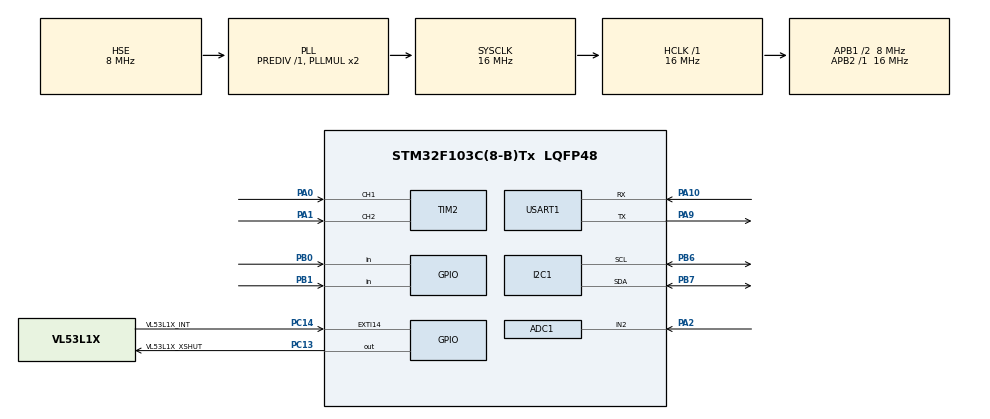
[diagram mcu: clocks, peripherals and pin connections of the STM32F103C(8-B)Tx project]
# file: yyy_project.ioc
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ADC1.Channel-0\#ChannelRegularConversion=ADC_CHANNEL_2
ADC1.ContinuousConvMode=ENABLE
ADC1.NbrOfConversionFlag=1
ADC1.Rank-0\#ChannelRegularConversion=1
ADC1.SamplingTime-0\#ChannelRegularConversion=ADC_SAMPLETIME_1CYCLE_5
ADC1.master=1
I2C1.I2C_Mode=I2C_Fast
Mcu.Family=STM32F1
Mcu.Name=STM32F103C(8-B)Tx
Mcu.Package=LQFP48
NVIC.EXTI15_10_IRQn=true\:0\:0\:false\:false\:true\:true\:true\:true
NVIC.PriorityGroup=NVIC_PRIORITYGROUP_4
PA0-WKUP.Signal=S_TIM2_CH1_ETR
PA1.Signal=S_TIM2_CH2
PA10.Mode=Asynchronous
PA10.Signal=USART1_RX
PA13.Mode=Serial_Wire
PA13.Signal=SYS_JTMS-SWDIO
PA14.Mode=Serial_Wire
PA14.Signal=SYS_JTCK-SWCLK
PA2.Signal=ADCx_IN2
PA9.Mode=Asynchronous
PA9.Signal=USART1_TX
PB0.GPIO_PuPd=GPIO_PULLUP
PB0.Signal=GPIO_Input
PB1.GPIO_PuPd=GPIO_PULLUP
PB1.Signal=GPIO_Input
PB6.Mode=I2C
PB6.Signal=I2C1_SCL
PB7.Mode=I2C
PB7.Signal=I2C1_SDA
PC13-TAMPER-RTC.GPIO_Label=VL53L1X_XSHUT
PC13-TAMPER-RTC.PinState=GPIO_PIN_SET
PC13-TAMPER-RTC.Signal=GPIO_Output
PC14-OSC32_IN.GPIO_Label=VL53L1X_INT
PC14-OSC32_IN.GPIO_PuPd=GPIO_PULLUP
PC14-OSC32_IN.Signal=GPXTI14
PD0-OSC_IN.Mode=HSE-External-Oscillator
PD0-OSC_IN.Signal=RCC_OSC_IN
PD1-OSC_OUT.Mode=HSE-External-Oscillator
PD1-OSC_OUT.Signal=RCC_OSC_OUT
ProjectManager.HeapSize=0x1000
ProjectManager.StackSize=0x2000
ProjectManager.TargetToolchain=CMake
RCC.AHBFreq_Value=16000000
RCC.APB1CLKDivider=RCC_HCLK_DIV2
RCC.APB1Freq_Value=8000000
RCC.APB1TimFreq_Value=16000000
RCC.APB2Freq_Value=16000000
RCC.APB2TimFreq_Value=16000000
RCC.HCLKFreq_Value=16000000
RCC.PLLSourceVirtual=RCC_PLLSOURCE_HSE
RCC.SYSCLKFreq_VALUE=16000000
RCC.SYSCLKSource=RCC_SYSCLKSOURCE_PLLCLK
RCC.USBFreq_Value=16000000
SH.ADCx_IN2.0=ADC1_IN2,IN2
SH.S_TIM2_CH1_ETR.0=TIM2_CH1,Encoder_Interface
SH.S_TIM2_CH2.0=TIM2_CH2,Encoder_Interface
TIM2.EncoderMode=TIM_ENCODERMODE_TI12
USART1.VirtualMode=VM_ASYNC
board=custom

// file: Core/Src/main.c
/* USER CODE BEGIN Header */
/**
  ******************************************************************************
  * @file           : main.c
  * @brief          : Camera light meter top main program
  ******************************************************************************
  */
/* USER CODE END Header */
#include "main.h"
#include "adc.h"
#include "i2c.h"
#include "tim.h"
#include "usart.h"
#include "gpio.h"

/* USER CODE BEGIN Includes */
#include "ssd1306_i2c.h"
#include "veml7700.h"
#include "vl53l1x_hal.h"
#include <stdio.h>
#include <stdint.h>
#include <string.h>
/* USER CODE END Includes */

/* USER CODE BEGIN PTD */
typedef enum {
  MODE_TV = 0,   /* shutter priority */
  MODE_AV = 1    /* aperture priority */
} MeterMode;

typedef enum {
  METER_OK = 0,
  METER_UNDER,
  METER_OVER,
  METER_SENSOR_ERR
} MeterHint;

typedef struct {
  GPIO_TypeDef *port;
  uint16_t pin;
  GPIO_PinState stable;
  GPIO_PinState last_read;
  uint32_t last_change_ms;
  uint32_t press_start_ms;
  uint8_t ever_pressed;       /* GPIO keys cannot be probed; becomes OK after first valid press. */
  uint8_t long_reported;
} ButtonState;

typedef enum {
  BUTTON_EVENT_NONE = 0,
  BUTTON_EVENT_SHORT,
  BUTTON_EVENT_LONG
} ButtonEvent;

typedef enum {
  SCREEN_SELF_TEST = 0,
  SCREEN_METER = 1
} AppScreen;
/* USER CODE END PTD */

/* USER CODE BEGIN PD */
#define ARRAY_LEN(a)              (sizeof(a) / sizeof((a)[0]))
#define ENCODER_STEP              4
#define KEY_PRESSED               GPIO_PIN_RESET
#define KEY_RELEASED              GPIO_PIN_SET
#define KEY_DEBOUNCE_MS           35U
#define SENSOR_PERIOD_MS          400U
#define UI_PERIOD_MS              180U
#define RANGE_RESTART_MS          1000U
#define RANGE_POLL_MS             120U
#define RANGE_FORCE_ALWAYS_ON     1U
#define DISPLAY_IIR_SHIFT         2U
#define DISPLAY_RANGE_IIR_SHIFT   3U
#define DISPLAY_LUX_STABLE_X10    30UL
#define DISPLAY_RANGE_STABLE_MM   20U
#define DISPLAY_RANGE_DEADBAND_MM 20U
#define DISPLAY_RANGE_STEP_MM     50U
#define RANGE_XSHUT_GPIO_Port     GPIOC
#define RANGE_XSHUT_Pin           GPIO_PIN_13
#define RANGE_INT_Pin             GPIO_PIN_14
#define SELF_TEST_HOLD_MS         5000U  /* Long press encoder button to enter self-test. */
#define SELF_TEST_SHOW_MS         6000U  /* Boot/long-press self-test screen display time. */
/* USER CODE END PD */

/* USER CODE BEGIN PV */
static VEML7700_HandleTypeDef hveml;
static VL53L1X_HandleTypeDef hvl53;
static ButtonState btn_mode;
static ButtonState btn_iso;

static const uint16_t shutter_den_tbl[] = {1, 2, 4, 8, 15, 30, 60, 125, 250, 500};
static const uint16_t aperture_x10_tbl[] = {28, 35, 40, 47, 56, 80, 110, 160, 220, 320, 450};
static const uint16_t iso_tbl[] = {100, 125, 160, 200, 400};

static MeterMode g_mode = MODE_TV;
static MeterHint g_hint = METER_SENSOR_ERR;
static uint8_t g_shutter_idx = 6;   /* 1/60 */
static uint8_t g_aperture_idx = 4;  /* f/5.6 */
static uint8_t g_iso_idx = 0;
static uint32_t g_lux_x10 = 0;
static int16_t g_ev_x10 = 0;
static uint16_t g_bat_mv = 0;
static uint8_t g_bat_pct = 0;
static uint8_t g_sensor_ok = 0;
static uint8_t g_lux_disp_valid = 0U;
static uint8_t g_lux_disp_stable = 0U;
static uint32_t g_lux_disp_x10 = 0U;
static uint8_t g_encoder_seen = 0U;
static uint8_t g_button_seen = 0U;
static uint32_t g_app_start_ms = 0U;
static AppScreen g_screen = SCREEN_SELF_TEST;
static uint32_t g_selftest_start_ms = 0U;
static uint8_t g_selftest_boot = 1U;
static uint8_t g_range_needed = 0U;
static uint8_t g_range_active = 0U;
static uint8_t g_range_ok = 0U;
static uint8_t g_range_read_seen = 0U;
static uint8_t g_range_disp_valid = 0U;
static uint8_t g_range_disp_stable = 0U;
static uint16_t g_range_mm = 0U;
static uint16_t g_range_disp_mm = 0U;
static uint8_t g_range_status = 0xFFU;
static uint32_t g_range_retry_ms = 0U;
static uint32_t g_range_last_poll_ms = 0U;
static volatile uint8_t g_vl53_int_flag = 0U;
static volatile uint8_t g_i2c1_busy = 0U;
static int16_t enc_last = 0;
/* USER CODE END PV */

void SystemClock_Config(void);
/* USER CODE BEGIN PFP */
static void App_Init(void);
static void App_Task(void);
static void Process_Input(void);
static void Update_Meter(void);
static void Range_Task(void);
static void Range_SetNeeded(uint8_t needed);
static uint8_t Range_IsNeeded(void);
static const char *Range_DebugText(void);
static void DisplayFilter_UpdateLux(uint32_t lux_x10);
static void DisplayFilter_UpdateRange(uint16_t range_mm);
static uint32_t IIR_UpdateU32(uint32_t current, uint32_t target);
static uint32_t IIR_UpdateU32Shift(uint32_t current, uint32_t target, uint8_t shift);
static uint32_t AbsDiffU32(uint32_t a, uint32_t b);
static uint8_t I2C1_TryLock(void);
static void I2C1_Unlock(void);
static void Meter_Recalculate(void);
static int8_t Encoder_ReadDetents(void);
static ButtonEvent Button_Update(ButtonState *btn, uint32_t long_ms);
static void SelfTest_Start(uint8_t boot_start);
static void SelfTest_Task(void);
static void UI_DrawSelfTest(void);
static void UI_DrawBottomStatusBar(void);
static uint16_t Battery_ReadMv(void);
static uint8_t Battery_Percent(uint16_t mv);
static uint8_t FindNearestShutter(float target_s);
static uint8_t FindNearestApertureByN2(float target_n2);
static int16_t EV10_FromLuxIso(uint32_t lux_x10, uint16_t iso);
static void Update_Display(void);
/* USER CODE END PFP */

int main(void)
{

  /* MCU Configuration--------------------------------------------------------*/

  /* Reset of all peripherals, Initializes the Flash interface and the Systick. */
  HAL_Init();

  /* Configure the system clock */
  SystemClock_Config();

  /* Initialize all configured peripherals */
  MX_GPIO_Init();
  MX_ADC1_Init();
  MX_I2C1_Init();
  MX_TIM2_Init();
  MX_USART1_UART_Init();
  /* USER CODE BEGIN 2 */
  App_Init();
  /* USER CODE END 2 */

  /* Infinite loop */
  /* USER CODE BEGIN WHILE */
  while (1)
  {
    App_Task();
    /* USER CODE END WHILE */

  }
}

void SystemClock_Config(void)
{
  RCC_OscInitTypeDef RCC_OscInitStruct = {0};
  RCC_ClkInitTypeDef RCC_ClkInitStruct = {0};
  RCC_PeriphCLKInitTypeDef PeriphClkInit = {0};

  /** Initializes the RCC Oscillators according to the specified parameters
  * in the RCC_OscInitTypeDef structure.
  */
  RCC_OscInitStruct.OscillatorType = RCC_OSCILLATORTYPE_HSE;
  RCC_OscInitStruct.HSEState = RCC_HSE_ON;
  RCC_OscInitStruct.HSEPredivValue = RCC_HSE_PREDIV_DIV1;
  RCC_OscInitStruct.HSIState = RCC_HSI_ON;
  RCC_OscInitStruct.PLL.PLLState = RCC_PLL_ON;
  RCC_OscInitStruct.PLL.PLLSource = RCC_PLLSOURCE_HSE;
  RCC_OscInitStruct.PLL.PLLMUL = RCC_PLL_MUL2;
  if (HAL_RCC_OscConfig(&RCC_OscInitStruct) != HAL_OK)
  {
    Error_Handler();
  }

  /** Initializes the CPU, AHB and APB buses clocks
  */
  RCC_ClkInitStruct.ClockType = RCC_CLOCKTYPE_HCLK|RCC_CLOCKTYPE_SYSCLK
                              |RCC_CLOCKTYPE_PCLK1|RCC_CLOCKTYPE_PCLK2;
  RCC_ClkInitStruct.SYSCLKSource = RCC_SYSCLKSOURCE_PLLCLK;
  RCC_ClkInitStruct.AHBCLKDivider = RCC_SYSCLK_DIV1;
  RCC_ClkInitStruct.APB1CLKDivider = RCC_HCLK_DIV2;
  RCC_ClkInitStruct.APB2CLKDivider = RCC_HCLK_DIV1;

  if (HAL_RCC_ClockConfig(&RCC_ClkInitStruct, FLASH_LATENCY_0) != HAL_OK)
  {
    Error_Handler();
  }
  PeriphClkInit.PeriphClockSelection = RCC_PERIPHCLK_ADC;
  PeriphClkInit.AdcClockSelection = RCC_ADCPCLK2_DIV2;
  if (HAL_RCCEx_PeriphCLKConfig(&PeriphClkInit) != HAL_OK)
  {
    Error_Handler();
  }
}

/* USER CODE BEGIN 4 */
static void App_Init(void)
{
  g_app_start_ms = HAL_GetTick();

  btn_mode.port = GPIOB;
  btn_mode.pin = GPIO_PIN_0;
  btn_mode.stable = KEY_RELEASED;
  btn_mode.last_read = KEY_RELEASED;
  btn_mode.last_change_ms = HAL_GetTick();
  btn_mode.press_start_ms = 0U;
  btn_mode.ever_pressed = 0U;
  btn_mode.long_reported = 0U;

  btn_iso.port = GPIOB;
  btn_iso.pin = GPIO_PIN_1;
  btn_iso.stable = KEY_RELEASED;
  btn_iso.last_read = KEY_RELEASED;
  btn_iso.last_change_ms = HAL_GetTick();
  btn_iso.press_start_ms = 0U;
  btn_iso.ever_pressed = 0U;
  btn_iso.long_reported = 0U;

  if (HAL_TIM_Encoder_Start(&htim2, TIM_CHANNEL_ALL) == HAL_OK) {
    enc_last = (int16_t)__HAL_TIM_GET_COUNTER(&htim2);
  } else {
    g_encoder_seen = 0U;
  }
  HAL_ADC_Start(&hadc1);

  /* XSHUT must already be configured as PC13 output-high by MX_GPIO_Init().
     Keep it high before the first VL53L1X I2C register access. */
  HAL_GPIO_WritePin(RANGE_XSHUT_GPIO_Port, RANGE_XSHUT_Pin, GPIO_PIN_SET);
  (void)VL53L1X_Attach(&hvl53, &hi2c1, RANGE_XSHUT_GPIO_Port, RANGE_XSHUT_Pin);

  if (I2C1_TryLock()) {
    if (SSD1306_Init(&hi2c1) == HAL_OK) {
      SSD1306_Clear();
      SSD1306_DrawString(0, 0, "Light Meter Top");
      SSD1306_DrawString(0, 2, "Init VEML7700...");
      SSD1306_Update();
    }
    I2C1_Unlock();
  }

  if (I2C1_TryLock()) {
    if (VEML7700_Init(&hveml, &hi2c1) != HAL_OK) {
      g_sensor_ok = 0;
      g_hint = METER_SENSOR_ERR;
    } else {
      g_sensor_ok = 1;
      g_hint = METER_OK;
    }
    I2C1_Unlock();
  }

  Range_SetNeeded(Range_IsNeeded());
  Range_Task();

  HAL_Delay(150);
  Update_Meter();
  SelfTest_Start(1U);
  Update_Display();
}

static void App_Task(void)
{
  static uint32_t last_sensor_ms = 0;
  static uint32_t last_ui_ms = 0;
  uint32_t now = HAL_GetTick();

  Process_Input();
  Range_Task();
  SelfTest_Task();

  if ((now - last_sensor_ms) >= SENSOR_PERIOD_MS) {
    last_sensor_ms = now;
    Update_Meter();
  }

  if ((now - last_ui_ms) >= UI_PERIOD_MS) {
    last_ui_ms = now;
    Update_Display();
  }
}

static void Process_Input(void)
{
  int8_t detents = Encoder_ReadDetents();
  ButtonEvent encoder_button_event = Button_Update(&btn_mode, SELF_TEST_HOLD_MS);
  ButtonEvent iso_button_event = Button_Update(&btn_iso, 0U);

  if (detents != 0) {
    g_encoder_seen = 1U;

    /* In self-test screen, rotation is only used to verify the encoder. */
    if (g_screen != SCREEN_SELF_TEST) {
      if (g_mode == MODE_TV) {
        int16_t idx = (int16_t)g_shutter_idx + detents;
        if (idx < 0) idx = 0;
        if (idx >= (int16_t)ARRAY_LEN(shutter_den_tbl)) idx = (int16_t)ARRAY_LEN(shutter_den_tbl) - 1;
        g_shutter_idx = (uint8_t)idx;
      } else {
        int16_t idx = (int16_t)g_aperture_idx + detents;
        if (idx < 0) idx = 0;
        if (idx >= (int16_t)ARRAY_LEN(aperture_x10_tbl)) idx = (int16_t)ARRAY_LEN(aperture_x10_tbl) - 1;
        g_aperture_idx = (uint8_t)idx;
      }
      Meter_Recalculate();
    }

    Update_Display();
  }

  if (encoder_button_event == BUTTON_EVENT_LONG) {
    /* Current IOC has no separate encoder-SW pin. PB0 is treated as encoder push.
       Short press keeps the original Mode action; 5s long press opens self-test. */
    SelfTest_Start(0U);
    Update_Display();
  } else if ((encoder_button_event == BUTTON_EVENT_SHORT) && (g_screen != SCREEN_SELF_TEST)) {
    g_mode = (g_mode == MODE_TV) ? MODE_AV : MODE_TV;
    Meter_Recalculate();
    Update_Display();
  }

  if ((iso_button_event == BUTTON_EVENT_SHORT) && (g_screen != SCREEN_SELF_TEST)) {
    g_iso_idx++;
    if (g_iso_idx >= ARRAY_LEN(iso_tbl)) g_iso_idx = 0;
    Meter_Recalculate();
    Update_Display();
  }
}

static void Update_Meter(void)
{
  uint32_t lux_x10;

  if (I2C1_TryLock()) {
    if (VEML7700_ReadLuxAutoX10(&hveml, &lux_x10) == HAL_OK) {
      g_lux_x10 = lux_x10;
      g_sensor_ok = 1;
      DisplayFilter_UpdateLux(lux_x10);
    } else {
      g_sensor_ok = 0;
      g_lux_disp_valid = 0U;
      g_hint = METER_SENSOR_ERR;
    }
    I2C1_Unlock();
  }

  g_bat_mv = Battery_ReadMv();
  g_bat_pct = Battery_Percent(g_bat_mv);
  Meter_Recalculate();
}

static void Range_Task(void)
{
  uint32_t now = HAL_GetTick();

  Range_SetNeeded(Range_IsNeeded());
  HAL_GPIO_WritePin(RANGE_XSHUT_GPIO_Port, RANGE_XSHUT_Pin, GPIO_PIN_SET);

  if (g_range_needed == 0U) {
    return;
  }

  if (g_range_active == 0U) {
    if ((g_range_retry_ms != 0U) && ((now - g_range_retry_ms) < RANGE_RESTART_MS)) {
      return;
    }

    if (I2C1_TryLock()) {
      HAL_StatusTypeDef init_ret = VL53L1X_PowerOnInit(&hvl53);
      HAL_StatusTypeDef start_ret = HAL_ERROR;
      if (init_ret == HAL_OK) {
        start_ret = VL53L1X_StartRanging(&hvl53);
      }
      if ((init_ret == HAL_OK) && (start_ret == HAL_OK)) {
        g_range_active = 1U;
        g_range_ok = 0U;
        g_range_read_seen = 0U;
        g_vl53_int_flag = 0U;
        g_range_last_poll_ms = now;
      } else {
        if (init_ret == HAL_OK) {
          hvl53.last_error_stage = VL53L1X_STAGE_START;
          hvl53.last_hal_status = start_ret;
        }
        g_range_active = 0U;
        g_range_ok = 0U;
        g_range_retry_ms = now;
#if (RANGE_FORCE_ALWAYS_ON != 0U)
        HAL_GPIO_WritePin(RANGE_XSHUT_GPIO_Port, RANGE_XSHUT_Pin, GPIO_PIN_SET);
#else
        VL53L1X_PowerOff(&hvl53);
#endif
      }
      I2C1_Unlock();
    }
    return;
  }

  if ((g_vl53_int_flag != 0U) ||
      ((now - g_range_last_poll_ms) >= RANGE_POLL_MS)) {
    uint16_t distance = 0U;
    uint8_t status = 0xFFU;

    if (I2C1_TryLock()) {
      g_vl53_int_flag = 0U;
      g_range_last_poll_ms = now;
      if (VL53L1X_ReadAndClear(&hvl53, &distance, &status) == HAL_OK) {
        g_range_mm = distance;
        g_range_status = status;
        g_range_read_seen = 1U;
        g_range_ok = (status == 0U) ? 1U : 0U;
        if (g_range_ok != 0U) {
          DisplayFilter_UpdateRange(distance);
        } else {
          g_range_disp_stable = 0U;
        }
      } else {
        hvl53.last_error_stage = VL53L1X_STAGE_READ;
        g_range_ok = 0U;
        g_range_active = 0U;
        g_range_retry_ms = now;
#if (RANGE_FORCE_ALWAYS_ON != 0U)
        HAL_GPIO_WritePin(RANGE_XSHUT_GPIO_Port, RANGE_XSHUT_Pin, GPIO_PIN_SET);
#else
        VL53L1X_PowerOff(&hvl53);
#endif
      }
      I2C1_Unlock();
    }
  }
}

static void Range_SetNeeded(uint8_t needed)
{
#if (RANGE_FORCE_ALWAYS_ON != 0U)
  needed = 1U;
  HAL_GPIO_WritePin(RANGE_XSHUT_GPIO_Port, RANGE_XSHUT_Pin, GPIO_PIN_SET);
#endif
  needed = (needed != 0U) ? 1U : 0U;

  if (needed == g_range_needed) {
    return;
  }

  g_range_needed = needed;

  if (g_range_needed == 0U) {
#if (RANGE_FORCE_ALWAYS_ON != 0U)
    HAL_GPIO_WritePin(RANGE_XSHUT_GPIO_Port, RANGE_XSHUT_Pin, GPIO_PIN_SET);
#else
    if (I2C1_TryLock()) {
      VL53L1X_PowerOff(&hvl53);
      I2C1_Unlock();
    } else {
      HAL_GPIO_WritePin(RANGE_XSHUT_GPIO_Port, RANGE_XSHUT_Pin, GPIO_PIN_RESET);
    }
#endif
    g_range_active = 0U;
    g_range_ok = 0U;
    g_range_read_seen = 0U;
    g_range_disp_valid = 0U;
    g_vl53_int_flag = 0U;
  }
}

static uint8_t Range_IsNeeded(void)
{
  /* Self-test needs range powered so it can verify VL53L1X presence.
     Replace the normal return value with the actual UI/standby condition later. */
  if (g_screen == SCREEN_SELF_TEST) {
    return 1U;
  }
  return 1U;
}

static const char *Range_DebugText(void)
{
  switch (hvl53.last_error_stage) {
    case VL53L1X_STAGE_BOOT:
      return "BOOT";
    case VL53L1X_STAGE_ID:
      return "ID";
    case VL53L1X_STAGE_CFG:
      return "CFG";
    case VL53L1X_STAGE_INT:
      return "INT";
    case VL53L1X_STAGE_CLR:
      return "CLR";
    case VL53L1X_STAGE_START:
      return "START";
    case VL53L1X_STAGE_READ:
      return "READ";
    default:
      return "TRY";
  }
}

static void DisplayFilter_UpdateLux(uint32_t lux_x10)
{
  if (g_lux_disp_valid == 0U) {
    g_lux_disp_x10 = lux_x10;
    g_lux_disp_valid = 1U;
  } else {
    g_lux_disp_x10 = IIR_UpdateU32(g_lux_disp_x10, lux_x10);
  }

  g_lux_disp_stable =
      (AbsDiffU32(g_lux_disp_x10, lux_x10) <= DISPLAY_LUX_STABLE_X10) ? 1U : 0U;
}

static void DisplayFilter_UpdateRange(uint16_t range_mm)
{
  uint32_t current;
  uint32_t target;
  uint32_t diff;

  if (g_range_disp_valid == 0U) {
    g_range_disp_mm = range_mm;
    g_range_disp_valid = 1U;
  } else {
    current = (uint32_t)g_range_disp_mm;
    target = (uint32_t)range_mm;
    diff = AbsDiffU32(current, target);

    if (diff > DISPLAY_RANGE_DEADBAND_MM) {
      if (diff > DISPLAY_RANGE_STEP_MM) {
        target = (target > current) ? (current + DISPLAY_RANGE_STEP_MM)
                                   : (current - DISPLAY_RANGE_STEP_MM);
      }
      g_range_disp_mm = (uint16_t)IIR_UpdateU32Shift(current, target, DISPLAY_RANGE_IIR_SHIFT);
    }
  }

  g_range_disp_stable =
      (AbsDiffU32((uint32_t)g_range_disp_mm, (uint32_t)range_mm) <= DISPLAY_RANGE_STABLE_MM) ? 1U : 0U;
}

static uint32_t IIR_UpdateU32(uint32_t current, uint32_t target)
{
  return IIR_UpdateU32Shift(current, target, DISPLAY_IIR_SHIFT);
}

static uint32_t IIR_UpdateU32Shift(uint32_t current, uint32_t target, uint8_t shift)
{
  uint32_t delta;
  uint32_t step;

  if (target == current) {
    return current;
  }

  if (target > current) {
    delta = target - current;
    step = delta >> shift;
    if (step == 0U) step = 1U;
    return current + step;
  }

  delta = current - target;
  step = delta >> shift;
  if (step == 0U) step = 1U;
  return current - step;
}

static uint32_t AbsDiffU32(uint32_t a, uint32_t b)
{
  return (a >= b) ? (a - b) : (b - a);
}

static uint8_t I2C1_TryLock(void)
{
  uint8_t ok = 0U;

  __disable_irq();
  if (g_i2c1_busy == 0U) {
    g_i2c1_busy = 1U;
    ok = 1U;
  }
  __enable_irq();

  return ok;
}

static void I2C1_Unlock(void)
{
  __disable_irq();
  g_i2c1_busy = 0U;
  __enable_irq();
}

static void Meter_Recalculate(void)
{
  uint16_t iso = iso_tbl[g_iso_idx];
  float lux = (float)g_lux_x10 / 10.0f;
  float light_power;

  g_ev_x10 = EV10_FromLuxIso(g_lux_x10, iso);

  if (g_sensor_ok == 0U) {
    g_hint = METER_SENSOR_ERR;
    return;
  }
  if (g_lux_x10 == 0U) {
    g_hint = METER_UNDER;
    return;
  }

  /* Incident meter approximation: EV100 = log2(lux / 2.5).
     Therefore N^2 / t = lux * ISO / 250. */
  light_power = lux * ((float)iso / 250.0f);

  if (g_mode == MODE_AV) {
    float n = (float)aperture_x10_tbl[g_aperture_idx] / 10.0f;
    float target_s = (n * n) / light_power;

    if (target_s > (1.0f / (float)shutter_den_tbl[0])) {
      g_hint = METER_UNDER;
    } else if (target_s < (1.0f / (float)shutter_den_tbl[ARRAY_LEN(shutter_den_tbl) - 1])) {
      g_hint = METER_OVER;
    } else {
      g_hint = METER_OK;
    }
    g_shutter_idx = FindNearestShutter(target_s);
  } else {
    float t = 1.0f / (float)shutter_den_tbl[g_shutter_idx];
    float target_n2 = t * light_power;
    float min_n = (float)aperture_x10_tbl[0] / 10.0f;
    float max_n = (float)aperture_x10_tbl[ARRAY_LEN(aperture_x10_tbl) - 1] / 10.0f;

    if (target_n2 < (min_n * min_n)) {
      g_hint = METER_UNDER;
    } else if (target_n2 > (max_n * max_n)) {
      g_hint = METER_OVER;
    } else {
      g_hint = METER_OK;
    }
    g_aperture_idx = FindNearestApertureByN2(target_n2);
  }
}

static int8_t Encoder_ReadDetents(void)
{
  int16_t now = (int16_t)__HAL_TIM_GET_COUNTER(&htim2);
  int16_t diff = (int16_t)(now - enc_last);
  int8_t detents = 0;

  if (diff >= ENCODER_STEP) {
    detents = (int8_t)(diff / ENCODER_STEP);
    enc_last = (int16_t)(enc_last + detents * ENCODER_STEP);
  } else if (diff <= -ENCODER_STEP) {
    detents = (int8_t)(diff / ENCODER_STEP);
    enc_last = (int16_t)(enc_last + detents * ENCODER_STEP);
  }
  return detents;
}

static ButtonEvent Button_Update(ButtonState *btn, uint32_t long_ms)
{
  GPIO_PinState read = HAL_GPIO_ReadPin(btn->port, btn->pin);
  uint32_t now = HAL_GetTick();

  if (read != btn->last_read) {
    btn->last_read = read;
    btn->last_change_ms = now;
  }

  if ((now - btn->last_change_ms) >= KEY_DEBOUNCE_MS) {
    if (read != btn->stable) {
      btn->stable = read;

      if (btn->stable == KEY_PRESSED) {
        btn->ever_pressed = 1U;
        g_button_seen = 1U;
        btn->press_start_ms = now;
        btn->long_reported = 0U;
      } else {
        if ((btn->long_reported == 0U) && (btn->press_start_ms != 0U)) {
          btn->press_start_ms = 0U;
          return BUTTON_EVENT_SHORT;
        }
        btn->press_start_ms = 0U;
      }
    }
  }

  if ((long_ms != 0U) &&
      (btn->stable == KEY_PRESSED) &&
      (btn->press_start_ms != 0U) &&
      (btn->long_reported == 0U) &&
      ((now - btn->press_start_ms) >= long_ms)) {
    btn->long_reported = 1U;
    return BUTTON_EVENT_LONG;
  }

  return BUTTON_EVENT_NONE;
}

static void SelfTest_Start(uint8_t boot_start)
{
  g_screen = SCREEN_SELF_TEST;
  g_selftest_start_ms = HAL_GetTick();
  g_selftest_boot = (boot_start != 0U) ? 1U : 0U;

  /* Start one non-blocking round for I2C devices. Passive GPIO inputs
     (encoder/buttons) can only become OK after the user operates them. */
  Range_SetNeeded(1U);
  Range_Task();
  Update_Meter();
}

static void SelfTest_Task(void)
{
  if (g_screen != SCREEN_SELF_TEST) {
    return;
  }

  /* Show one result page, then automatically return to the normal meter UI. */
  if ((HAL_GetTick() - g_selftest_start_ms) >= SELF_TEST_SHOW_MS) {
    g_screen = SCREEN_METER;
    g_selftest_boot = 0U;
    Update_Display();
  }
}

static void UI_DrawSelfTest(void)
{
  char line[32];

  SSD1306_Clear();
  SSD1306_DrawString(18U, 0U, g_selftest_boot ? "BOOT SELF TEST" : "SELF TEST");
  SSD1306_DrawHLine(0U, 11U, 128U, 1U);

  snprintf(line, sizeof(line), "ENC : %s", (g_encoder_seen != 0U) ? "OK" : "TURN");
  SSD1306_DrawString(0U, 2U, line);

  snprintf(line, sizeof(line), "MODE: %s", (btn_mode.ever_pressed != 0U) ? "OK" : "PRESS");
  SSD1306_DrawString(0U, 3U, line);

  snprintf(line, sizeof(line), "ISO : %s", (btn_iso.ever_pressed != 0U) ? "OK" : "PRESS");
  SSD1306_DrawString(0U, 4U, line);

  snprintf(line, sizeof(line), "LUX : %s", (g_sensor_ok != 0U) ? "OK" : "OFF");
  SSD1306_DrawString(0U, 5U, line);

  if (g_range_ok != 0U) {
    snprintf(line, sizeof(line), "DIST: OK %ucm", (unsigned int)(g_range_mm / 10U));
  } else if (g_range_read_seen != 0U) {
    snprintf(line, sizeof(line), "DIST:S%02X %ucm",
             (unsigned int)g_range_status,
             (unsigned int)(g_range_mm / 10U));
  } else if (g_range_active != 0U) {
    snprintf(line, sizeof(line), "DIST: WAIT");
  } else if (hvl53.last_error_stage == VL53L1X_STAGE_ID) {
    snprintf(line, sizeof(line), "DIST:ID %04X H%u",
             (unsigned int)hvl53.last_id,
             (unsigned int)hvl53.last_hal_status);
  } else if (g_range_needed != 0U) {
    snprintf(line, sizeof(line), "DIST: %s", Range_DebugText());
  } else {
    snprintf(line, sizeof(line), "DIST: OFF");
  }
  SSD1306_DrawString(0U, 6U, line);

  SSD1306_DrawString(0U, 7U, "Hold ENC 5s: test");
}

static void UI_DrawBottomStatusBar(void)
{
  char line[32];

  /* Left: light sensor */
  if ((g_sensor_ok != 0U) && (g_lux_disp_valid != 0U)) {
    snprintf(line, sizeof(line), "L:%s%lu",
             (g_lux_disp_stable != 0U) ? "" : "~",
             (unsigned long)(g_lux_disp_x10 / 10UL));
  } else {
    snprintf(line, sizeof(line), "L:--");
  }
  SSD1306_DrawString(0U, 7U, line);

  /* Middle: distance, unit is m */
  if (g_range_active != 0U) {
    if ((g_range_ok != 0U) && (g_range_disp_valid != 0U)) {
      snprintf(line, sizeof(line), "D:%s%u.%02um",
               (g_range_disp_stable != 0U) ? "" : "~",
               (unsigned int)(g_range_disp_mm / 1000U),
               (unsigned int)((g_range_disp_mm % 1000U) / 10U));
    } else if (g_range_read_seen != 0U) {
      snprintf(line, sizeof(line), "D:S%02X", (unsigned int)g_range_status);
    } else {
      snprintf(line, sizeof(line), "D:--");
    }
  } else {
    snprintf(line, sizeof(line), "D:--");
  }
  SSD1306_DrawString(42U, 7U, line);

  /* Right: exposure value */
  if (g_sensor_ok != 0U) {
    if (g_ev_x10 < 0) {
      int16_t ev_abs = (int16_t)(-g_ev_x10);
      snprintf(line, sizeof(line), "EV-%d.%d", ev_abs / 10, ev_abs % 10);
    } else {
      snprintf(line, sizeof(line), "EV%d.%d", g_ev_x10 / 10, g_ev_x10 % 10);
    }
  } else {
    snprintf(line, sizeof(line), "EV--");
  }
  {
    size_t ev_len = strlen(line);
    uint16_t ev_w = (uint16_t)(ev_len * 6U);
    uint8_t ev_x = (ev_w < SSD1306_WIDTH) ? (uint8_t)(SSD1306_WIDTH - ev_w) : 0U;
    SSD1306_DrawString(ev_x, 7U, line);
  }
}

static uint16_t Battery_ReadMv(void)
{
  uint32_t raw = 0;
  HAL_ADC_Start(&hadc1);
  if (HAL_ADC_PollForConversion(&hadc1, 10) == HAL_OK) {
    raw = HAL_ADC_GetValue(&hadc1);
  }
  /* ADC reference 3.3V, 12-bit ADC, external divider is 1:2, so multiply by 2. */
  return (uint16_t)((raw * 3300UL * 2UL) / 4095UL);
}

static uint8_t Battery_Percent(uint16_t mv)
{
  if (mv <= 3200U) return 0U;
  if (mv >= 4200U) return 100U;
  return (uint8_t)(((uint32_t)(mv - 3200U) * 100UL) / 1000UL);
}

static uint8_t FindNearestShutter(float target_s)
{
  uint8_t best = 0;
  float best_score = 100000000.0f;
  for (uint8_t i = 0; i < ARRAY_LEN(shutter_den_tbl); i++) {
    float s = 1.0f / (float)shutter_den_tbl[i];
    float score = (s > target_s) ? (s / target_s) : (target_s / s);
    if (score < best_score) {
      best_score = score;
      best = i;
    }
  }
  return best;
}

static uint8_t FindNearestApertureByN2(float target_n2)
{
  uint8_t best = 0;
  float best_score = 100000000.0f;
  for (uint8_t i = 0; i < ARRAY_LEN(aperture_x10_tbl); i++) {
    float n = (float)aperture_x10_tbl[i] / 10.0f;
    float n2 = n * n;
    float score = (n2 > target_n2) ? (n2 / target_n2) : (target_n2 / n2);
    if (score < best_score) {
      best_score = score;
      best = i;
    }
  }
  return best;
}

static int16_t EV10_FromLuxIso(uint32_t lux_x10, uint16_t iso)
{
  float v;
  int16_t ev = 0;
  if (lux_x10 == 0U || iso == 0U) return -990;

  /* v = N^2/t = lux * ISO / 250.  lux_x10 is lux * 10. */
  v = ((float)lux_x10 * (float)iso) / 2500.0f;
  while (v >= 2.0f) { v *= 0.5f; ev += 10; }
  while (v < 1.0f)  { v *= 2.0f; ev -= 10; }

  /* Small approximation of 10*log2(v), v in [1, 2). Enough for UI display. */
  ev += (int16_t)((v - 1.0f) * 10.0f + 0.5f);
  return ev;
}

static void UI_FillRect(uint8_t x, uint8_t y, uint8_t w, uint8_t h)
{
  for (uint8_t yy = 0; yy < h; yy++) {
    for (uint8_t xx = 0; xx < w; xx++) {
      SSD1306_DrawPixel((uint8_t)(x + xx), (uint8_t)(y + yy), 1U);
    }
  }
}

static const char *UI_BigPattern(char c)
{
  switch (c) {
    case '0': return "111"
                     "101"
                     "101"
                     "101"
                     "111";
    case '1': return "010"
                     "110"
                     "010"
                     "010"
                     "111";
    case '2': return "111"
                     "001"
                     "111"
                     "100"
                     "111";
    case '3': return "111"
                     "001"
                     "111"
                     "001"
                     "111";
    case '4': return "101"
                     "101"
                     "111"
                     "001"
                     "001";
    case '5': return "111"
                     "100"
                     "111"
                     "001"
                     "111";
    case '6': return "111"
                     "100"
                     "111"
                     "101"
                     "111";
    case '7': return "111"
                     "001"
                     "010"
                     "010"
                     "010";
    case '8': return "111"
                     "101"
                     "111"
                     "101"
                     "111";
    case '9': return "111"
                     "101"
                     "111"
                     "001"
                     "111";
    case 'F': return "111"
                     "100"
                     "110"
                     "100"
                     "100";
    case '/': return "001"
                     "001"
                     "010"
                     "100"
                     "100";
    case '.': return "000"
                     "000"
                     "000"
                     "000"
                     "010";
    case '-': return "000"
                     "000"
                     "111"
                     "000"
                     "000";
    default:  return "000"
                     "000"
                     "000"
                     "000"
                     "000";
  }
}

static uint8_t UI_BigCharWidth(uint8_t scale)
{
  return (uint8_t)(3U * scale);
}

static void UI_DrawBigChar(uint8_t x, uint8_t y, char c, uint8_t scale)
{
  const char *p = UI_BigPattern(c);

  for (uint8_t row = 0; row < 5U; row++) {
    for (uint8_t col = 0; col < 3U; col++) {
      if (p[row * 3U + col] == '1') {
        UI_FillRect((uint8_t)(x + col * scale),
                    (uint8_t)(y + row * scale),
                    scale,
                    scale);
      }
    }
  }
}

static uint8_t UI_BigStringWidth(const char *str, uint8_t scale, uint8_t spacing)
{
  uint8_t width = 0U;

  while (*str != '\0') {
    width = (uint8_t)(width + UI_BigCharWidth(scale));
    str++;

    if (*str != '\0') {
      width = (uint8_t)(width + spacing);
    }
  }

  return width;
}

static void UI_DrawBigStringCentered(uint8_t y, const char *str, uint8_t scale, uint8_t spacing)
{
  uint8_t width = UI_BigStringWidth(str, scale, spacing);
  uint8_t x = 0U;

  if (width < 128U) {
    x = (uint8_t)((128U - width) / 2U);
  }

  while (*str != '\0') {
    UI_DrawBigChar(x, y, *str, scale);
    x = (uint8_t)(x + UI_BigCharWidth(scale) + spacing);
    str++;
  }
}

static void UI_DrawBatteryIcon(uint8_t x, uint8_t y, uint8_t percent)
{
  SSD1306_DrawRect(x, y, 14U, 7U, 1U);

  /* Battery terminal */
  SSD1306_DrawPixel((uint8_t)(x + 14U), (uint8_t)(y + 2U), 1U);
  SSD1306_DrawPixel((uint8_t)(x + 14U), (uint8_t)(y + 3U), 1U);
  SSD1306_DrawPixel((uint8_t)(x + 14U), (uint8_t)(y + 4U), 1U);

  uint8_t bars;
  if (percent > 75U) {
    bars = 4U;
  } else if (percent > 50U) {
    bars = 3U;
  } else if (percent > 25U) {
    bars = 2U;
  } else if (percent > 5U) {
    bars = 1U;
  } else {
    bars = 0U;
  }

  for (uint8_t i = 0; i < bars; i++) {
    UI_FillRect((uint8_t)(x + 2U + i * 3U), (uint8_t)(y + 2U), 2U, 3U);
  }
}

static void UI_FormatShutter(char *buf, uint8_t size)
{
  if (shutter_den_tbl[g_shutter_idx] == 1U) {
    snprintf(buf, size, "1");
  } else {
    snprintf(buf, size, "1/%u", shutter_den_tbl[g_shutter_idx]);
  }
}

static void UI_FormatAperture(char *buf, uint8_t size)
{
  snprintf(buf, size, "F%u.%u",
           aperture_x10_tbl[g_aperture_idx] / 10U,
           aperture_x10_tbl[g_aperture_idx] % 10U);
}

static void Update_Display(void)
{
  char line[32];
  char main_value[16];
  char sub_value[16];

  if (g_screen == SCREEN_SELF_TEST) {
    UI_DrawSelfTest();
    if (I2C1_TryLock()) {
      SSD1306_Update();
      I2C1_Unlock();
    }
    return;
  }

  SSD1306_Clear();

  /* Top status bar: mode / ISO / battery */
  SSD1306_DrawString(0U, 0U, (g_mode == MODE_TV) ? "Tv" : "Av");

  snprintf(line, sizeof(line), "ISO%u", iso_tbl[g_iso_idx]);
  SSD1306_DrawString(38U, 0U, line);

  snprintf(line, sizeof(line), "%u%%", g_bat_pct);
  SSD1306_DrawString(86U, 0U, line);
  UI_DrawBatteryIcon(112U, 0U, g_bat_pct);

  SSD1306_DrawHLine(0U, 11U, 128U, 1U);

  /* Main parameter follows current priority mode. */
  if (g_mode == MODE_TV) {
    UI_FormatShutter(main_value, sizeof(main_value));
    UI_FormatAperture(sub_value, sizeof(sub_value));
  } else {
    UI_FormatAperture(main_value, sizeof(main_value));
    UI_FormatShutter(sub_value, sizeof(sub_value));
  }

  /* Big main value */
  UI_DrawBigStringCentered(15U, main_value, 5U, 3U);

  SSD1306_DrawHLine(0U, 42U, 128U, 1U);

  /* Recommended/secondary value */
  UI_DrawBigStringCentered(45U, sub_value, 2U, 2U);

  SSD1306_DrawHLine(0U, 55U, 128U, 1U);

  /* Bottom status bar: Lux left, Dist center, EV right.
     Distance no longer uses the F-value area above this bar. */
  UI_DrawBottomStatusBar();

  if (I2C1_TryLock()) {
    SSD1306_Update();
    I2C1_Unlock();
  }
}

void HAL_GPIO_EXTI_Callback(uint16_t GPIO_Pin)
{
  if (GPIO_Pin == RANGE_INT_Pin) {
    /* ISR only sets a flag. Never touch I2C here. */
    g_vl53_int_flag = 1U;
  }
}

/* USER CODE END 4 */

void Error_Handler(void)
{
  __disable_irq();
  while (1)
  {
  }
}
